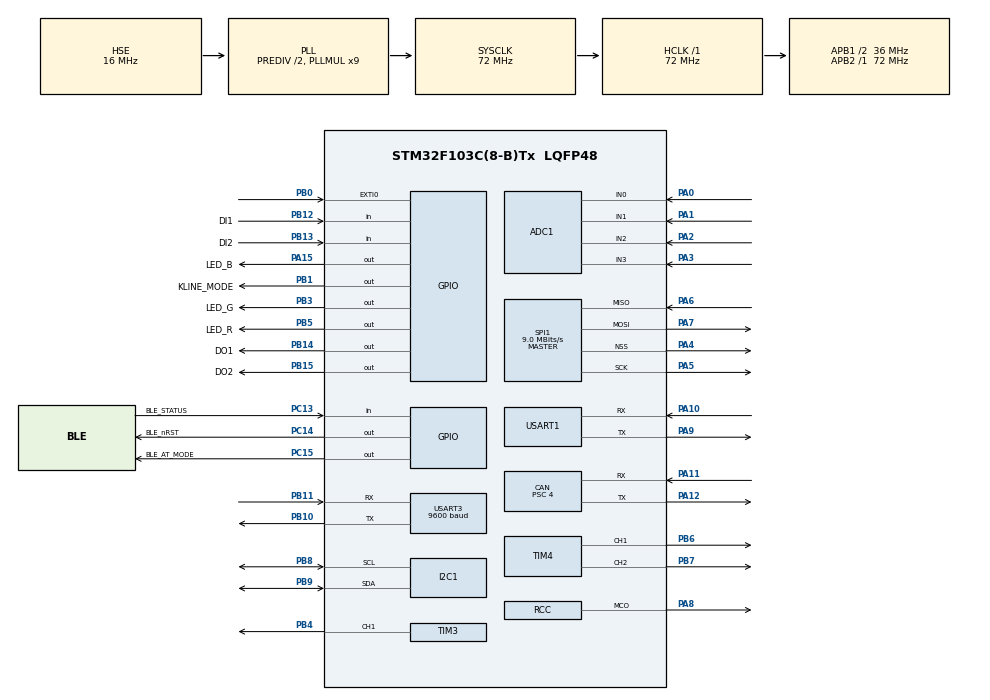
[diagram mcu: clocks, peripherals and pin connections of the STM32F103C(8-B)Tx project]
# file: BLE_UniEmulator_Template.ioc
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ADC1.Channel-0\#ChannelRegularConversion=ADC_CHANNEL_0
ADC1.NbrOfConversionFlag=1
ADC1.Rank-0\#ChannelRegularConversion=1
ADC1.SamplingTime-0\#ChannelRegularConversion=ADC_SAMPLETIME_1CYCLE_5
ADC1.master=1
CAN.BS1=CAN_BS1_15TQ
CAN.BS2=CAN_BS2_2TQ
CAN.CalculateBaudRate=500000
CAN.CalculateTimeBit=2000
CAN.CalculateTimeQuantum=111.11111111111111
CAN.NART=ENABLE
CAN.Prescaler=4
Dma.Request0=USART1_RX
Dma.Request1=USART3_RX
Dma.USART1_RX.0.Direction=DMA_PERIPH_TO_MEMORY
Dma.USART1_RX.0.Instance=DMA1_Channel5
Dma.USART1_RX.0.MemDataAlignment=DMA_MDATAALIGN_BYTE
Dma.USART1_RX.0.MemInc=DMA_MINC_ENABLE
Dma.USART1_RX.0.Mode=DMA_CIRCULAR
Dma.USART1_RX.0.PeriphDataAlignment=DMA_PDATAALIGN_BYTE
Dma.USART1_RX.0.PeriphInc=DMA_PINC_DISABLE
Dma.USART1_RX.0.Priority=DMA_PRIORITY_LOW
Dma.USART3_RX.1.Direction=DMA_PERIPH_TO_MEMORY
Dma.USART3_RX.1.Instance=DMA1_Channel3
Dma.USART3_RX.1.MemDataAlignment=DMA_MDATAALIGN_BYTE
Dma.USART3_RX.1.MemInc=DMA_MINC_ENABLE
Dma.USART3_RX.1.Mode=DMA_NORMAL
Dma.USART3_RX.1.PeriphDataAlignment=DMA_PDATAALIGN_BYTE
Dma.USART3_RX.1.PeriphInc=DMA_PINC_DISABLE
Dma.USART3_RX.1.Priority=DMA_PRIORITY_LOW
Mcu.Family=STM32F1
Mcu.Name=STM32F103C(8-B)Tx
Mcu.Package=LQFP48
NVIC.DMA1_Channel3_IRQn=true\:0\:0\:false\:false\:true\:false\:true\:true
NVIC.DMA1_Channel5_IRQn=true\:0\:0\:false\:false\:true\:false\:true\:true
NVIC.PriorityGroup=NVIC_PRIORITYGROUP_4
NVIC.USART1_IRQn=true\:0\:0\:false\:false\:true\:true\:true\:true
NVIC.USART3_IRQn=true\:0\:0\:false\:false\:true\:true\:true\:true
NVIC.USB_LP_CAN1_RX0_IRQn=true\:0\:0\:false\:false\:true\:true\:true\:true
PA0-WKUP.Signal=ADCx_IN0
PA1.Signal=ADCx_IN1
PA10.Mode=Asynchronous
PA10.Signal=USART1_RX
PA11.Mode=CAN_Activate
PA11.Signal=CAN_RX
PA12.Mode=CAN_Activate
PA12.Signal=CAN_TX
PA13.Mode=Serial_Wire
PA13.Signal=SYS_JTMS-SWDIO
PA14.Mode=Serial_Wire
PA14.Signal=SYS_JTCK-SWCLK
PA15.GPIO_Label=LED_B
PA15.Signal=GPIO_Output
PA2.Signal=ADCx_IN2
PA3.Signal=ADCx_IN3
PA4.Mode=NSS_Signal_Hard_Output
PA4.Signal=SPI1_NSS
PA5.Mode=Full_Duplex_Master
PA5.Signal=SPI1_SCK
PA6.Mode=Full_Duplex_Master
PA6.Signal=SPI1_MISO
PA7.Mode=Full_Duplex_Master
PA7.Signal=SPI1_MOSI
PA8.Mode=Clock-out
PA8.Signal=RCC_MCO
PA9.Mode=Asynchronous
PA9.Signal=USART1_TX
PB0.Signal=GPXTI0
PB1.GPIO_Label=KLINE_MODE
PB1.Signal=GPIO_Output
PB10.Mode=Asynchronous
PB10.Signal=USART3_TX
PB11.Mode=Asynchronous
PB11.Signal=USART3_RX
PB12.GPIO_Label=DI1
PB12.Signal=GPIO_Input
PB13.GPIO_Label=DI2
PB13.Signal=GPIO_Input
PB14.GPIO_Label=DO1
PB14.Signal=GPIO_Output
PB15.GPIO_Label=DO2
PB15.Signal=GPIO_Output
PB3.GPIO_Label=LED_G
PB3.Signal=GPIO_Output
PB4.Signal=S_TIM3_CH1
PB5.GPIO_Label=LED_R
PB5.Signal=GPIO_Output
PB6.Signal=S_TIM4_CH1
PB7.Signal=S_TIM4_CH2
PB8.Mode=I2C
PB8.Signal=I2C1_SCL
PB9.Mode=I2C
PB9.Signal=I2C1_SDA
PC13-TAMPER-RTC.GPIO_Label=BLE_STATUS
PC13-TAMPER-RTC.Signal=GPIO_Input
PC14-OSC32_IN.GPIO_Label=BLE_nRST
PC14-OSC32_IN.PinState=GPIO_PIN_SET
PC14-OSC32_IN.Signal=GPIO_Output
PC15-OSC32_OUT.GPIO_Label=BLE_AT_MODE
PC15-OSC32_OUT.PinState=GPIO_PIN_SET
PC15-OSC32_OUT.Signal=GPIO_Output
PD0-OSC_IN.Mode=HSE-External-Oscillator
PD0-OSC_IN.Signal=RCC_OSC_IN
PD1-OSC_OUT.Mode=HSE-External-Oscillator
PD1-OSC_OUT.Signal=RCC_OSC_OUT
ProjectManager.HeapSize=0x200
ProjectManager.StackSize=0x400
ProjectManager.TargetToolchain=MDK-ARM V5.32
RCC.ADCPresc=RCC_ADCPCLK2_DIV6
RCC.AHBFreq_Value=72000000
RCC.APB1CLKDivider=RCC_HCLK_DIV2
RCC.APB1Freq_Value=36000000
RCC.APB1TimFreq_Value=72000000
RCC.APB2Freq_Value=72000000
RCC.APB2TimFreq_Value=72000000
RCC.HCLKFreq_Value=72000000
RCC.HSEDivPLL=RCC_HSE_PREDIV_DIV2
RCC.HSE_VALUE=16000000
RCC.PLLMUL=RCC_PLL_MUL9
RCC.PLLSourceVirtual=RCC_PLLSOURCE_HSE
RCC.RCC_MCOSource=RCC_MCO1SOURCE_HSE
RCC.SYSCLKFreq_VALUE=72000000
RCC.SYSCLKSource=RCC_SYSCLKSOURCE_PLLCLK
RCC.USBFreq_Value=72000000
SH.ADCx_IN0.0=ADC1_IN0,IN0
SH.ADCx_IN1.0=ADC1_IN1,IN1
SH.ADCx_IN2.0=ADC1_IN2,IN2
SH.ADCx_IN3.0=ADC1_IN3,IN3
SH.S_TIM3_CH1.0=TIM3_CH1,PWM Generation1 CH1
SH.S_TIM4_CH1.0=TIM4_CH1,PWM Generation1 CH1
SH.S_TIM4_CH2.0=TIM4_CH2,PWM Generation2 CH2
SPI1.BaudRatePrescaler=SPI_BAUDRATEPRESCALER_8
SPI1.CalculateBaudRate=9.0 MBits/s
SPI1.Direction=SPI_DIRECTION_2LINES
SPI1.Mode=SPI_MODE_MASTER
SPI1.VirtualNSS=VM_NSSHARD
SPI1.VirtualType=VM_MASTER
TIM3.Channel-PWM\ Generation1\ CH1=TIM_CHANNEL_1
TIM3.Period=500
TIM3.Prescaler=71
TIM4.Channel-PWM\ Generation1\ CH1=TIM_CHANNEL_1
TIM4.Channel-PWM\ Generation2\ CH2=TIM_CHANNEL_2
USART1.VirtualMode=VM_ASYNC
USART3.BaudRate=9600
USART3.Parity=PARITY_EVEN
USART3.VirtualMode=VM_ASYNC
VP_CRC_VS_CRC.Mode=CRC_Activate
VP_TIM3_VS_ClockSourceINT.Mode=Internal
VP_TIM4_VS_ClockSourceINT.Mode=Internal
board=custom

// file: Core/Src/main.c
/* USER CODE BEGIN Header */
/**
 ******************************************************************************
 * @file           : main.c
 * @brief          : Main program body
 ******************************************************************************
 * @attention
 *
 * Copyright (c) 2023 STMicroelectronics.
 * All rights reserved.
 *
 * This software is licensed under terms that can be found in the LICENSE file
 * in the root directory of this software component.
 * If no LICENSE file comes with this software, it is provided AS-IS.
 *
 ******************************************************************************
 */
/* USER CODE END Header */
#include "main.h"

/* USER CODE BEGIN Includes */
#include "EEPROM.h"
#include "ESL.h"
#include "License.h"
#include "SerialFIFO.h"
#include "SerialProtocol.h"
#include "SmartLED.h"
#include <string.h>
/* USER CODE END Includes */

/* USER CODE BEGIN PTD */
extern int8_t LicenseStatus;

SerialProtocol_t BLE_Serial;

bool isRealServer = false;
uint32_t challengeServerTimeout;

typedef void (*p_function)(void);

p_function boot_entry;

// https://github.com/gbesnard/stm32f1-bootloader/tree/master
#define BOOTLOADER_START_ADDRESS 0x08000000
#define BOOTLOADER_SIZE 0x8000 // 32KB
#define APPLICATION_START_ADDRESS BOOTLOADER_START_ADDRESS + BOOTLOADER_SIZE
#define APPLICATION_SIZE 0x018000 // 96KB => 98304 Bytes

/* USER CODE END PTD */

/* USER CODE BEGIN PM */
#define BUZZER_ON() TIM3->CCR1 = 250
#define BUZZER_OFF() TIM3->CCR1 = 0

uint8_t beepCounter = 0;
/* USER CODE END PM */

ADC_HandleTypeDef hadc1;

CAN_HandleTypeDef hcan;

CRC_HandleTypeDef hcrc;

I2C_HandleTypeDef hi2c1;

SPI_HandleTypeDef hspi1;

TIM_HandleTypeDef htim3;
TIM_HandleTypeDef htim4;

UART_HandleTypeDef huart1;
UART_HandleTypeDef huart3;
DMA_HandleTypeDef hdma_usart1_rx;
DMA_HandleTypeDef hdma_usart3_rx;

void SystemClock_Config(void);
static void MX_GPIO_Init(void);
static void MX_DMA_Init(void);
static void MX_ADC1_Init(void);
static void MX_CAN_Init(void);
static void MX_CRC_Init(void);
static void MX_I2C1_Init(void);
static void MX_SPI1_Init(void);
static void MX_TIM3_Init(void);
static void MX_TIM4_Init(void);
static void MX_USART1_UART_Init(void);
static void MX_USART3_UART_Init(void);
/* USER CODE BEGIN PFP */

void LED_Red_Callback(bool status)
{
    if (TIM3->CCR1 == 250)
    {
        BUZZER_OFF(); // Buzzer Turn off
    }
    else
    {
        if (status == true)
        {
            if (++beepCounter >= 5)
            {
                beepCounter = 0;
                BUZZER_ON(); // Buzzer Turn on
            }
        }
    }
}

void LED_Green_Callback(bool status)
{
}

void LED_Blue_Callback(bool status)
{
}

/* USER CODE END PFP */

/* USER CODE BEGIN 0 */
void BLE_ConnectionLost(void)
{
    Serial_SendRequest(&BLE_Serial, SERIAL_PING);
}

void BLE_EvaluateCommand(uint8_t cmd)
{

    if (isRealServer)
    {
        if (HAL_GetTick() > challengeServerTimeout)
        {
            isRealServer = false;
        }
    }

    switch (cmd)
    {
    case SERIAL_PING:
        Serial_HeadReply(&BLE_Serial, 0); // Pong response
        break;

    case SERIAL_READ_INFO: {
        char Device_Info[256];

        // Initialize the buffer with the first part
        CONCATENATE_WITH_SPACE(Device_Info, FIRMWARE_TYPE);
        CONCATENATE_WITH_SPACE(Device_Info, FIRMWARE_BRAND);
        CONCATENATE_WITH_SPACE(Device_Info, FIRMWARE_MODEL);
        CONCATENATE_WITH_SPACE(Device_Info, FIRMWARE_SHIELD);
        CONCATENATE_WITH_SPACE(Device_Info, HARDWARE_VER);
        strcat(Device_Info, FIRMWARE_VER); // No extra space at the end
        Serial_SendString(&BLE_Serial, SERIAL_READ_INFO, Device_Info);
    }
    break;

    case SERIAL_READ_UNIQUE: {
        uint8_t uniqueData[17];
        uint8_t random = rand() % 256;
        uint8_t level = random >> 4;
        uint8_t shift = random & 0x0F;
        License_UniqueEncryption(uniqueData, level, shift, true);
        Serial_SendArray(&BLE_Serial, SERIAL_READ_UNIQUE, uniqueData, sizeof(uniqueData));
        isRealServer = false;
        break;
    }

    case SERIAL_RESPONSE_UNIQUE: {
        uint8_t uniqueData[32];
        Serial_ReadArray(&BLE_Serial, uniqueData, sizeof(uniqueData));

        isRealServer = License_Check_Unique_HASH(uniqueData);

        if (isRealServer)
        {
            challengeServerTimeout = HAL_GetTick() + 180000; // Timeout = 1000 * 60 * 3 minutes
        }

        Serial_SendUint8(&BLE_Serial, SERIAL_RESPONSE_UNIQUE, (uint8_t)isRealServer);
        break;
    }

    case SERIAL_ACTIVATE_DEVICE: {
        if (isRealServer)
        {
            uint8_t random = rand() % 256;
            uint8_t level = random >> 4;
            uint8_t shift = random & 0x0F;
            License_SetPrimary(level, shift);
        }

        Serial_SendUint8(&BLE_Serial, SERIAL_ACTIVATE_DEVICE, (uint8_t)isRealServer);
        break;
    }

    case SERIAL_ACTIVATE_BOOTLOADER: {
        isRealServer = true; // for testing
        Serial_SendUint8(&BLE_Serial, SERIAL_ACTIVATE_BOOTLOADER, (uint8_t)isRealServer);
        if (isRealServer)
        {
            uint8_t BOOTLOADER_ENABLE = 0xFF;
            EEPROM_Write(0x00, &BOOTLOADER_ENABLE, 1);

            deinitEverything();

            uint32_t boot_stack;
            // Set HSION bit.
            RCC->CR |= 0x00000001U;

            // Reset SW, HPRE, PPRE1, PPRE2, ADCPRE and MCO bits.
            RCC->CFGR &= 0xF8FF0000U;

            // Reset HSEON, CSSON and PLLON bits.
            RCC->CR &= 0xFEF6FFFFU;

            // Reset HSEBYP bit.
            RCC->CR &= 0xFFFBFFFFU;

            // Reset PLLSRC, PLLXTPRE, PLLMUL and USBPRE/OTGFSPRE bits.
            RCC->CFGR &= 0xFF80FFFFU;

            // Disable all interrupts and clear pending bits.
            RCC->CIR = 0x009F0000U;

            // Get the bootloader stack pointer (first entry in the bootloader vector table).
            boot_stack = (uint32_t) * ((__IO uint32_t *)BOOTLOADER_START_ADDRESS);

            // Get the bootloader entry point (second entry in the bootloader vector table).
            boot_entry = (p_function) * (__IO uint32_t *)(BOOTLOADER_START_ADDRESS + 4U);
            // Reconfigure vector table offset register to match the application location.
            SCB->VTOR = BOOTLOADER_START_ADDRESS;

            // Set the application stack pointer.
            __set_MSP(boot_stack);

            // Start the bootloader.
            boot_entry();
        }
        break;
    }

    default:
        break;
    }
}
/* USER CODE END 0 */

int main(void)
{

    /* MCU Configuration--------------------------------------------------------*/

    /* Reset of all peripherals, Initializes the Flash interface and the Systick. */
    HAL_Init();

    /* Configure the system clock */
    SystemClock_Config();

    /* Initialize all configured peripherals */
    MX_GPIO_Init();
    MX_DMA_Init();
    MX_ADC1_Init();
    MX_CAN_Init();
    MX_CRC_Init();
    MX_I2C1_Init();
    MX_SPI1_Init();
    MX_TIM3_Init();
    MX_TIM4_Init();
    MX_USART1_UART_Init();
    MX_USART3_UART_Init();
    /* USER CODE BEGIN 2 */
    HAL_TIM_PWM_Start(&htim3, TIM_CHANNEL_1);

    UART1_Init();
    Serial_Protocol_Init(&BLE_Serial, UART1_Available, UART1_Read, UART1_Write, BLE_EvaluateCommand,
                         BLE_ConnectionLost);

    if (EEPROM_Init(AT24C32) != HAL_OK)
    {
        Error_Handler(); // Handle initialization failure
    }

    SmartLED_Init(LED_R_GPIO_Port, LED_R_Pin, true, &LED_Red_Callback, NULL);
    SmartLED_Init(LED_G_GPIO_Port, LED_G_Pin, true, &LED_Green_Callback, NULL);
    SmartLED_Init(LED_B_GPIO_Port, LED_B_Pin, true, &LED_Blue_Callback, NULL);

    if (Check_License() == VALID)
    {
        ELV_Init();
        SmartLED_SetMode(LED_G, LED_MODE_BLINK_SLOW);
    }
    else
    {
        SmartLED_SetMode(LED_R, LED_MODE_BLINK_SLOW);
        beepCounter = 5;
    }

    /* USER CODE END 2 */

    /* Infinite loop */
    /* USER CODE BEGIN WHILE */
    while (1)
    {
        Serial_Update(&BLE_Serial);

        if (LicenseStatus == VALID)
        {
            uint16_t len = UART3_Available();

            if (len)
                ELV_USART_Receive(len);

            ELV_Update();
        }
        /* USER CODE END WHILE */

    }
}

void SystemClock_Config(void)
{
    RCC_OscInitTypeDef RCC_OscInitStruct = {0};
    RCC_ClkInitTypeDef RCC_ClkInitStruct = {0};
    RCC_PeriphCLKInitTypeDef PeriphClkInit = {0};

    /** Initializes the RCC Oscillators according to the specified parameters
     * in the RCC_OscInitTypeDef structure.
     */
    RCC_OscInitStruct.OscillatorType = RCC_OSCILLATORTYPE_HSE;
    RCC_OscInitStruct.HSEState = RCC_HSE_ON;
    RCC_OscInitStruct.HSEPredivValue = RCC_HSE_PREDIV_DIV2;
    RCC_OscInitStruct.HSIState = RCC_HSI_ON;
    RCC_OscInitStruct.PLL.PLLState = RCC_PLL_ON;
    RCC_OscInitStruct.PLL.PLLSource = RCC_PLLSOURCE_HSE;
    RCC_OscInitStruct.PLL.PLLMUL = RCC_PLL_MUL9;
    if (HAL_RCC_OscConfig(&RCC_OscInitStruct) != HAL_OK)
    {
        Error_Handler();
    }

    /** Initializes the CPU, AHB and APB buses clocks
     */
    RCC_ClkInitStruct.ClockType = RCC_CLOCKTYPE_HCLK | RCC_CLOCKTYPE_SYSCLK | RCC_CLOCKTYPE_PCLK1 | RCC_CLOCKTYPE_PCLK2;
    RCC_ClkInitStruct.SYSCLKSource = RCC_SYSCLKSOURCE_PLLCLK;
    RCC_ClkInitStruct.AHBCLKDivider = RCC_SYSCLK_DIV1;
    RCC_ClkInitStruct.APB1CLKDivider = RCC_HCLK_DIV2;
    RCC_ClkInitStruct.APB2CLKDivider = RCC_HCLK_DIV1;

    if (HAL_RCC_ClockConfig(&RCC_ClkInitStruct, FLASH_LATENCY_2) != HAL_OK)
    {
        Error_Handler();
    }
    PeriphClkInit.PeriphClockSelection = RCC_PERIPHCLK_ADC;
    PeriphClkInit.AdcClockSelection = RCC_ADCPCLK2_DIV6;
    if (HAL_RCCEx_PeriphCLKConfig(&PeriphClkInit) != HAL_OK)
    {
        Error_Handler();
    }
    HAL_RCC_MCOConfig(RCC_MCO, RCC_MCO1SOURCE_HSE, RCC_MCODIV_1);
}

static void MX_ADC1_Init(void)
{

    ADC_ChannelConfTypeDef sConfig = {0};

    /** Common config
     */
    hadc1.Instance = ADC1;
    hadc1.Init.ScanConvMode = ADC_SCAN_DISABLE;
    hadc1.Init.ContinuousConvMode = DISABLE;
    hadc1.Init.DiscontinuousConvMode = DISABLE;
    hadc1.Init.ExternalTrigConv = ADC_SOFTWARE_START;
    hadc1.Init.DataAlign = ADC_DATAALIGN_RIGHT;
    hadc1.Init.NbrOfConversion = 1;
    if (HAL_ADC_Init(&hadc1) != HAL_OK)
    {
        Error_Handler();
    }

    /** Configure Regular Channel
     */
    sConfig.Channel = ADC_CHANNEL_0;
    sConfig.Rank = ADC_REGULAR_RANK_1;
    sConfig.SamplingTime = ADC_SAMPLETIME_1CYCLE_5;
    if (HAL_ADC_ConfigChannel(&hadc1, &sConfig) != HAL_OK)
    {
        Error_Handler();
    }
}

static void MX_CAN_Init(void)
{

    hcan.Instance = CAN1;
    hcan.Init.Prescaler = 4;
    hcan.Init.Mode = CAN_MODE_NORMAL;
    hcan.Init.SyncJumpWidth = CAN_SJW_1TQ;
    hcan.Init.TimeSeg1 = CAN_BS1_15TQ;
    hcan.Init.TimeSeg2 = CAN_BS2_2TQ;
    hcan.Init.TimeTriggeredMode = DISABLE;
    hcan.Init.AutoBusOff = DISABLE;
    hcan.Init.AutoWakeUp = DISABLE;
    hcan.Init.AutoRetransmission = ENABLE;
    hcan.Init.ReceiveFifoLocked = DISABLE;
    hcan.Init.TransmitFifoPriority = DISABLE;
    if (HAL_CAN_Init(&hcan) != HAL_OK)
    {
        Error_Handler();
    }
}

static void MX_CRC_Init(void)
{

    hcrc.Instance = CRC;
    if (HAL_CRC_Init(&hcrc) != HAL_OK)
    {
        Error_Handler();
    }
}

static void MX_I2C1_Init(void)
{

    hi2c1.Instance = I2C1;
    hi2c1.Init.ClockSpeed = 100000;
    hi2c1.Init.DutyCycle = I2C_DUTYCYCLE_2;
    hi2c1.Init.OwnAddress1 = 0;
    hi2c1.Init.AddressingMode = I2C_ADDRESSINGMODE_7BIT;
    hi2c1.Init.DualAddressMode = I2C_DUALADDRESS_DISABLE;
    hi2c1.Init.OwnAddress2 = 0;
    hi2c1.Init.GeneralCallMode = I2C_GENERALCALL_DISABLE;
    hi2c1.Init.NoStretchMode = I2C_NOSTRETCH_DISABLE;
    if (HAL_I2C_Init(&hi2c1) != HAL_OK)
    {
        Error_Handler();
    }
}

static void MX_SPI1_Init(void)
{

    /* SPI1 parameter configuration*/
    hspi1.Instance = SPI1;
    hspi1.Init.Mode = SPI_MODE_MASTER;
    hspi1.Init.Direction = SPI_DIRECTION_2LINES;
    hspi1.Init.DataSize = SPI_DATASIZE_8BIT;
    hspi1.Init.CLKPolarity = SPI_POLARITY_LOW;
    hspi1.Init.CLKPhase = SPI_PHASE_1EDGE;
    hspi1.Init.NSS = SPI_NSS_HARD_OUTPUT;
    hspi1.Init.BaudRatePrescaler = SPI_BAUDRATEPRESCALER_8;
    hspi1.Init.FirstBit = SPI_FIRSTBIT_MSB;
    hspi1.Init.TIMode = SPI_TIMODE_DISABLE;
    hspi1.Init.CRCCalculation = SPI_CRCCALCULATION_DISABLE;
    hspi1.Init.CRCPolynomial = 10;
    if (HAL_SPI_Init(&hspi1) != HAL_OK)
    {
        Error_Handler();
    }
}

static void MX_TIM3_Init(void)
{

    TIM_ClockConfigTypeDef sClockSourceConfig = {0};
    TIM_MasterConfigTypeDef sMasterConfig = {0};
    TIM_OC_InitTypeDef sConfigOC = {0};

    htim3.Instance = TIM3;
    htim3.Init.Prescaler = 71;
    htim3.Init.CounterMode = TIM_COUNTERMODE_UP;
    htim3.Init.Period = 500;
    htim3.Init.ClockDivision = TIM_CLOCKDIVISION_DIV1;
    htim3.Init.AutoReloadPreload = TIM_AUTORELOAD_PRELOAD_DISABLE;
    if (HAL_TIM_Base_Init(&htim3) != HAL_OK)
    {
        Error_Handler();
    }
    sClockSourceConfig.ClockSource = TIM_CLOCKSOURCE_INTERNAL;
    if (HAL_TIM_ConfigClockSource(&htim3, &sClockSourceConfig) != HAL_OK)
    {
        Error_Handler();
    }
    if (HAL_TIM_PWM_Init(&htim3) != HAL_OK)
    {
        Error_Handler();
    }
    sMasterConfig.MasterOutputTrigger = TIM_TRGO_RESET;
    sMasterConfig.MasterSlaveMode = TIM_MASTERSLAVEMODE_DISABLE;
    if (HAL_TIMEx_MasterConfigSynchronization(&htim3, &sMasterConfig) != HAL_OK)
    {
        Error_Handler();
    }
    sConfigOC.OCMode = TIM_OCMODE_PWM1;
    sConfigOC.Pulse = 0;
    sConfigOC.OCPolarity = TIM_OCPOLARITY_HIGH;
    sConfigOC.OCFastMode = TIM_OCFAST_DISABLE;
    if (HAL_TIM_PWM_ConfigChannel(&htim3, &sConfigOC, TIM_CHANNEL_1) != HAL_OK)
    {
        Error_Handler();
    }
    HAL_TIM_MspPostInit(&htim3);
}

static void MX_TIM4_Init(void)
{

    TIM_ClockConfigTypeDef sClockSourceConfig = {0};
    TIM_MasterConfigTypeDef sMasterConfig = {0};
    TIM_OC_InitTypeDef sConfigOC = {0};

    htim4.Instance = TIM4;
    htim4.Init.Prescaler = 0;
    htim4.Init.CounterMode = TIM_COUNTERMODE_UP;
    htim4.Init.Period = 65535;
    htim4.Init.ClockDivision = TIM_CLOCKDIVISION_DIV1;
    htim4.Init.AutoReloadPreload = TIM_AUTORELOAD_PRELOAD_DISABLE;
    if (HAL_TIM_Base_Init(&htim4) != HAL_OK)
    {
        Error_Handler();
    }
    sClockSourceConfig.ClockSource = TIM_CLOCKSOURCE_INTERNAL;
    if (HAL_TIM_ConfigClockSource(&htim4, &sClockSourceConfig) != HAL_OK)
    {
        Error_Handler();
    }
    if (HAL_TIM_PWM_Init(&htim4) != HAL_OK)
    {
        Error_Handler();
    }
    sMasterConfig.MasterOutputTrigger = TIM_TRGO_RESET;
    sMasterConfig.MasterSlaveMode = TIM_MASTERSLAVEMODE_DISABLE;
    if (HAL_TIMEx_MasterConfigSynchronization(&htim4, &sMasterConfig) != HAL_OK)
    {
        Error_Handler();
    }
    sConfigOC.OCMode = TIM_OCMODE_PWM1;
    sConfigOC.Pulse = 0;
    sConfigOC.OCPolarity = TIM_OCPOLARITY_HIGH;
    sConfigOC.OCFastMode = TIM_OCFAST_DISABLE;
    if (HAL_TIM_PWM_ConfigChannel(&htim4, &sConfigOC, TIM_CHANNEL_1) != HAL_OK)
    {
        Error_Handler();
    }
    if (HAL_TIM_PWM_ConfigChannel(&htim4, &sConfigOC, TIM_CHANNEL_2) != HAL_OK)
    {
        Error_Handler();
    }
    HAL_TIM_MspPostInit(&htim4);
}

static void MX_USART1_UART_Init(void)
{

    huart1.Instance = USART1;
    huart1.Init.BaudRate = 115200;
    huart1.Init.WordLength = UART_WORDLENGTH_8B;
    huart1.Init.StopBits = UART_STOPBITS_1;
    huart1.Init.Parity = UART_PARITY_NONE;
    huart1.Init.Mode = UART_MODE_TX_RX;
    huart1.Init.HwFlowCtl = UART_HWCONTROL_NONE;
    huart1.Init.OverSampling = UART_OVERSAMPLING_16;
    if (HAL_UART_Init(&huart1) != HAL_OK)
    {
        Error_Handler();
    }
    /* USER CODE BEGIN USART1_Init 2 */
    SET_BIT(USART1->CR1, USART_CR1_IDLEIE);
    /* USER CODE END USART1_Init 2 */
}

static void MX_USART3_UART_Init(void)
{

    huart3.Instance = USART3;
    huart3.Init.BaudRate = 9600;
    huart3.Init.WordLength = UART_WORDLENGTH_8B;
    huart3.Init.StopBits = UART_STOPBITS_1;
    huart3.Init.Parity = UART_PARITY_EVEN;
    huart3.Init.Mode = UART_MODE_TX_RX;
    huart3.Init.HwFlowCtl = UART_HWCONTROL_NONE;
    huart3.Init.OverSampling = UART_OVERSAMPLING_16;
    if (HAL_UART_Init(&huart3) != HAL_OK)
    {
        Error_Handler();
    }
    /* USER CODE BEGIN USART3_Init 2 */
    SET_BIT(USART3->CR1, USART_CR1_IDLEIE);
    /* USER CODE END USART3_Init 2 */
}

static void MX_DMA_Init(void)
{

    /* DMA controller clock enable */
    __HAL_RCC_DMA1_CLK_ENABLE();

    /* DMA interrupt init */
    /* DMA1_Channel3_IRQn interrupt configuration */
    HAL_NVIC_SetPriority(DMA1_Channel3_IRQn, 0, 0);
    HAL_NVIC_EnableIRQ(DMA1_Channel3_IRQn);
    /* DMA1_Channel5_IRQn interrupt configuration */
    HAL_NVIC_SetPriority(DMA1_Channel5_IRQn, 0, 0);
    HAL_NVIC_EnableIRQ(DMA1_Channel5_IRQn);
}

static void MX_GPIO_Init(void)
{
    GPIO_InitTypeDef GPIO_InitStruct = {0};

    /* GPIO Ports Clock Enable */
    __HAL_RCC_GPIOC_CLK_ENABLE();
    __HAL_RCC_GPIOD_CLK_ENABLE();
    __HAL_RCC_GPIOA_CLK_ENABLE();
    __HAL_RCC_GPIOB_CLK_ENABLE();

    /*Configure GPIO pin Output Level */
    HAL_GPIO_WritePin(GPIOC, BLE_nRST_Pin | BLE_AT_MODE_Pin, GPIO_PIN_SET);

    /*Configure GPIO pin Output Level */
    HAL_GPIO_WritePin(GPIOB, KLINE_MODE_Pin | DO1_Pin | DO2_Pin | LED_G_Pin | LED_R_Pin, GPIO_PIN_RESET);

    /*Configure GPIO pin Output Level */
    HAL_GPIO_WritePin(LED_B_GPIO_Port, LED_B_Pin, GPIO_PIN_RESET);

    /*Configure GPIO pin : BLE_STATUS_Pin */
    GPIO_InitStruct.Pin = BLE_STATUS_Pin;
    GPIO_InitStruct.Mode = GPIO_MODE_INPUT;
    GPIO_InitStruct.Pull = GPIO_NOPULL;
    HAL_GPIO_Init(BLE_STATUS_GPIO_Port, &GPIO_InitStruct);

    /*Configure GPIO pins : BLE_nRST_Pin BLE_AT_MODE_Pin */
    GPIO_InitStruct.Pin = BLE_nRST_Pin | BLE_AT_MODE_Pin;
    GPIO_InitStruct.Mode = GPIO_MODE_OUTPUT_PP;
    GPIO_InitStruct.Pull = GPIO_NOPULL;
    GPIO_InitStruct.Speed = GPIO_SPEED_FREQ_LOW;
    HAL_GPIO_Init(GPIOC, &GPIO_InitStruct);

    /*Configure GPIO pin : PB0 */
    GPIO_InitStruct.Pin = GPIO_PIN_0;
    GPIO_InitStruct.Mode = GPIO_MODE_IT_RISING;
    GPIO_InitStruct.Pull = GPIO_NOPULL;
    HAL_GPIO_Init(GPIOB, &GPIO_InitStruct);

    /*Configure GPIO pins : KLINE_MODE_Pin DO1_Pin DO2_Pin LED_G_Pin
                             LED_R_Pin */
    GPIO_InitStruct.Pin = KLINE_MODE_Pin | DO1_Pin | DO2_Pin | LED_G_Pin | LED_R_Pin;
    GPIO_InitStruct.Mode = GPIO_MODE_OUTPUT_PP;
    GPIO_InitStruct.Pull = GPIO_NOPULL;
    GPIO_InitStruct.Speed = GPIO_SPEED_FREQ_LOW;
    HAL_GPIO_Init(GPIOB, &GPIO_InitStruct);

    /*Configure GPIO pins : DI1_Pin DI2_Pin */
    GPIO_InitStruct.Pin = DI1_Pin | DI2_Pin;
    GPIO_InitStruct.Mode = GPIO_MODE_INPUT;
    GPIO_InitStruct.Pull = GPIO_NOPULL;
    HAL_GPIO_Init(GPIOB, &GPIO_InitStruct);

    /*Configure GPIO pin : PA8 */
    GPIO_InitStruct.Pin = GPIO_PIN_8;
    GPIO_InitStruct.Mode = GPIO_MODE_AF_PP;
    GPIO_InitStruct.Speed = GPIO_SPEED_FREQ_LOW;
    HAL_GPIO_Init(GPIOA, &GPIO_InitStruct);

    /*Configure GPIO pin : LED_B_Pin */
    GPIO_InitStruct.Pin = LED_B_Pin;
    GPIO_InitStruct.Mode = GPIO_MODE_OUTPUT_PP;
    GPIO_InitStruct.Pull = GPIO_NOPULL;
    GPIO_InitStruct.Speed = GPIO_SPEED_FREQ_LOW;
    HAL_GPIO_Init(LED_B_GPIO_Port, &GPIO_InitStruct);

}

/* USER CODE BEGIN 4 */
void deinitEverything(void)
{
    //-- reset peripherals to guarantee flawless start of user application
    HAL_GPIO_DeInit(LED_R_GPIO_Port, LED_R_Pin);
    HAL_GPIO_DeInit(LED_G_GPIO_Port, LED_G_Pin);
    HAL_GPIO_DeInit(LED_B_GPIO_Port, LED_B_Pin);
    HAL_ADC_MspDeInit(&hadc1);
    HAL_CAN_MspDeInit(&hcan);
    HAL_CRC_MspDeInit(&hcrc);
    HAL_I2C_MspDeInit(&hi2c1);
    HAL_SPI_MspDeInit(&hspi1);
    HAL_TIM_MspPostInit(&htim3);
    HAL_TIM_MspPostInit(&htim4);
    HAL_UART_MspDeInit(&huart1);
    HAL_UART_MspDeInit(&huart3);

    HAL_NVIC_DisableIRQ(DMA1_Channel3_IRQn);
    HAL_NVIC_DisableIRQ(DMA1_Channel5_IRQn);

    __HAL_RCC_GPIOC_CLK_DISABLE();
    __HAL_RCC_GPIOD_CLK_DISABLE();
    __HAL_RCC_GPIOB_CLK_DISABLE();
    __HAL_RCC_GPIOA_CLK_DISABLE();
    HAL_RCC_DeInit();
    HAL_DeInit();
    SysTick->CTRL = 0;
    SysTick->LOAD = 0;
    SysTick->VAL = 0;
}
/* USER CODE END 4 */

void Error_Handler(void)
{
    __disable_irq();
    while (1)
    {
    }
}
